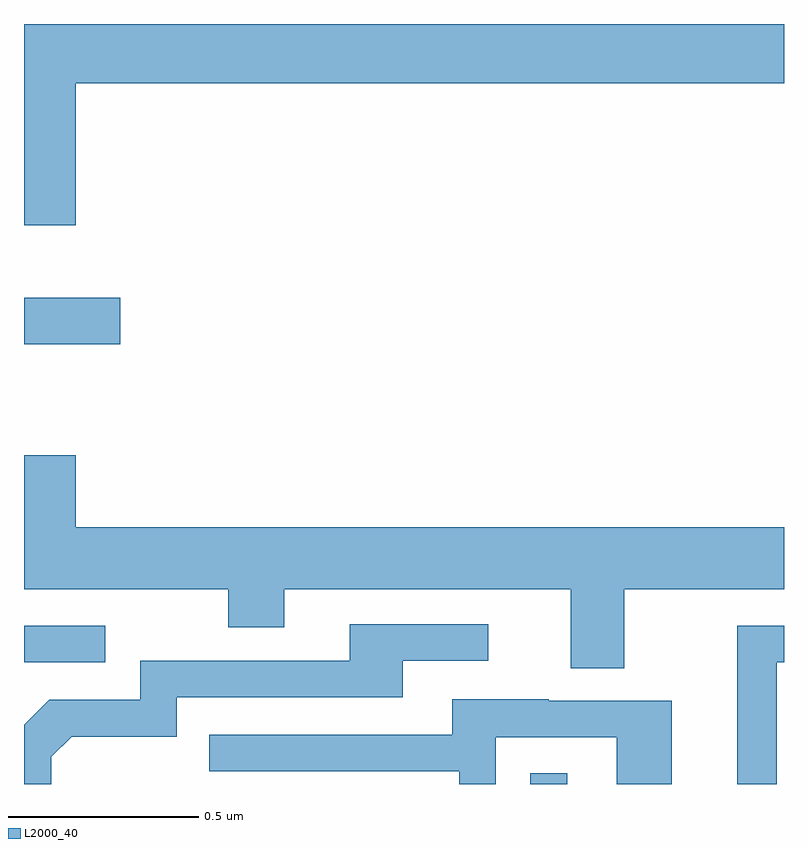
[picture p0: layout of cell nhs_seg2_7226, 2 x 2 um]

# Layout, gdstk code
import gdstk
lib = gdstk.Library(unit=1e-6, precision=1e-09)
def R(c, l, rs):  # rectangles x0, y0, x1, y1
    for r in rs: c.add(gdstk.rectangle(r[:2], r[2:], *l))
def P(c, l, *ps):  # polygons
    for p in ps: c.add(gdstk.Polygon(p, *l))
L2000_40 = (2000, 40)

nhs_seg2_7226 = lib.new_cell('nhs_seg2_7226')
R(nhs_seg2_7226, L2000_40, [(202.332,637.8,202.429,637.828), (201,638.121,201.214,638.217), (201,638.957,201.253,639.079)])
P(nhs_seg2_7226, L2000_40, [(201.136,639.644),(203,639.644),(203,639.8),(201,639.8),(201,639.27),(201.136,639.27)],
  [(202.579,638.312),(203,638.312),(203,638.476),(201.136,638.476),(201.136,638.665),(201,638.665),(201,638.312),(201.538,638.312),(201.538,638.213),(201.685,638.213),(201.685,638.312),(202.439,638.312),(202.439,638.104),(202.579,638.104)],
  [(201.072,637.872),(201.125,637.925),(201.402,637.925),(201.402,638.028),(201.997,638.028),(201.997,638.124),(202.222,638.124),(202.222,638.22),(201.857,638.22),(201.857,638.124),(201.306,638.124),(201.306,638.022),(201.066,638.022),(201,637.956),(201,637.8),(201.072,637.8)],
  [(202.981,638.121),(203,638.121),(203,638.217),(202.877,638.217),(202.877,637.8),(202.981,637.8)],
  [(202.242,637.923),(202.56,637.923),(202.56,637.8),(202.705,637.8),(202.705,638.019),(202.381,638.019),(202.381,638.023),(202.127,638.023),(202.127,637.929),(201.487,637.929),(201.487,637.833),(202.146,637.833),(202.146,637.8),(202.242,637.8)])

lib.write_gds('nhs_seg2_7226.gds')
